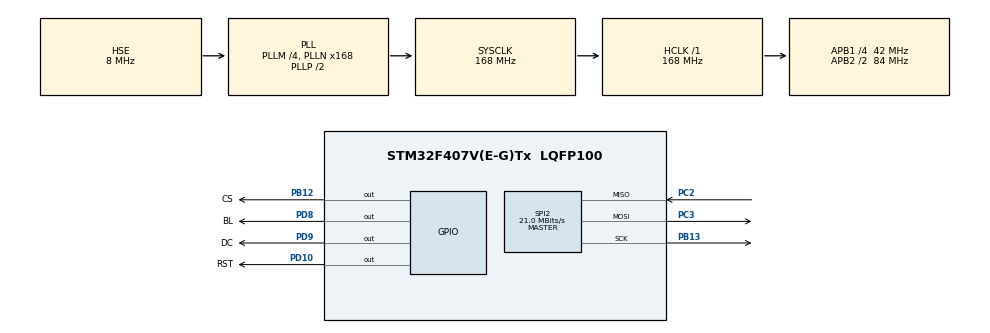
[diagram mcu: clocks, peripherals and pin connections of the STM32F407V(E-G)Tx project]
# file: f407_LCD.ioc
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Mcu.Family=STM32F4
Mcu.Name=STM32F407V(E-G)Tx
Mcu.Package=LQFP100
NVIC.PriorityGroup=NVIC_PRIORITYGROUP_4
NVIC.TIM6_DAC_IRQn=true\:2\:0\:true\:false\:true\:true\:true\:true
PA13.Mode=Serial_Wire
PA13.Signal=SYS_JTMS-SWDIO
PA14.Mode=Serial_Wire
PA14.Signal=SYS_JTCK-SWCLK
PB12.GPIO_Label=CS
PB12.PinState=GPIO_PIN_SET
PB12.Signal=GPIO_Output
PB13.Mode=Full_Duplex_Master
PB13.Signal=SPI2_SCK
PC2.Mode=Full_Duplex_Master
PC2.Signal=SPI2_MISO
PC3.Mode=Full_Duplex_Master
PC3.Signal=SPI2_MOSI
PD10.GPIO_Label=RST
PD10.PinState=GPIO_PIN_SET
PD10.Signal=GPIO_Output
PD8.GPIO_Label=BL
PD8.PinState=GPIO_PIN_RESET
PD8.Signal=GPIO_Output
PD9.GPIO_Label=DC
PD9.Signal=GPIO_Output
PH0-OSC_IN.Mode=HSE-External-Oscillator
PH0-OSC_IN.Signal=RCC_OSC_IN
PH1-OSC_OUT.Mode=HSE-External-Oscillator
PH1-OSC_OUT.Signal=RCC_OSC_OUT
ProjectManager.HeapSize=0x200
ProjectManager.StackSize=0x400
ProjectManager.TargetToolchain=CMake
RCC.48MHZClocksFreq_Value=84000000
RCC.AHBFreq_Value=168000000
RCC.APB1CLKDivider=RCC_HCLK_DIV4
RCC.APB1Freq_Value=42000000
RCC.APB1TimFreq_Value=84000000
RCC.APB2CLKDivider=RCC_HCLK_DIV2
RCC.APB2Freq_Value=84000000
RCC.APB2TimFreq_Value=168000000
RCC.CortexFreq_Value=168000000
RCC.HCLKFreq_Value=168000000
RCC.HSE_VALUE=8000000
RCC.HSI_VALUE=16000000
RCC.LSE_VALUE=32768
RCC.PLLM=4
RCC.PLLN=168
RCC.PLLSourceVirtual=RCC_PLLSOURCE_HSE
RCC.SYSCLKFreq_VALUE=168000000
RCC.SYSCLKSource=RCC_SYSCLKSOURCE_PLLCLK
RCC.VCOOutputFreq_Value=336000000
SPI2.CalculateBaudRate=21.0 MBits/s
SPI2.Direction=SPI_DIRECTION_2LINES
SPI2.Mode=SPI_MODE_MASTER
SPI2.VirtualType=VM_MASTER
TIM6.AutoReloadPreload=TIM_AUTORELOAD_PRELOAD_ENABLE
TIM6.Period=999
TIM6.Prescaler=83
TIM6.TIM_MasterOutputTrigger=TIM_TRGO_UPDATE
VP_TIM6_VS_ClockSourceINT.Mode=Enable_Timer
board=custom

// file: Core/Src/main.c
/* USER CODE BEGIN Header */
/**
  ******************************************************************************
  * @file           : main.c
  * @brief          : Main program body
  ******************************************************************************
  * @attention
  *
  * Copyright (c) 2025 STMicroelectronics.
  * All rights reserved.
  *
  * This software is licensed under terms that can be found in the LICENSE file
  * in the root directory of this software component.
  * If no LICENSE file comes with this software, it is provided AS-IS.
  *
  ******************************************************************************
  */
/* USER CODE END Header */
#include "main.h"
#include "spi.h"
#include "tim.h"
#include "gpio.h"

/* USER CODE BEGIN Includes */
#include "lcd.h"
#include "pic.h"
#include "lvgl.h"
#include "lv_port_disp.h"
/* USER CODE END Includes */

/* USER CODE BEGIN PD */
uint16_t color_palette[] = {
  0xFFFF, // WHITE
  0x0000, // BLACK
  0x001F, // BLUE
  0xF81F, // BRED
  0xFFE0, // GRED
  0x07FF, // GBLUE
  0xF800, // RED
  0xF81F, // MAGENTA
  0x07E0, // GREEN
  0x7FFF, // CYAN
  0xFFE0, // YELLOW
  0xBC40, // BROWN
  0xFC07, // BRRED
  0x8430, // GRAY
  0x01CF, // DARKBLUE
  0x7D7C, // LIGHTBLUE
  0x5458, // GRAYBLUE
  0x841F, // LIGHTGREEN
  0xC618, // LGRAY
  0xA651, // LGRAYBLUE
  0x2B12  // LBBLUE
};

/* USER CODE END PD */

void SystemClock_Config(void);

/* USER CODE BEGIN 0 */

// 按钮事件处理函数
static void btn_event_cb(lv_event_t * e)
{
    lv_event_code_t code = lv_event_get_code(e);
    lv_obj_t * btn = lv_event_get_target(e);
    if(code == LV_EVENT_CLICKED) {
        static uint8_t cnt = 0;
        cnt++;

        /*获取按钮上的标签*/
        lv_obj_t * label = lv_obj_get_child(btn, 0);
        lv_label_set_text_fmt(label, "Button: %d", cnt);
    }
}

/* USER CODE END 0 */

int main(void)
{

  /* MCU Configuration--------------------------------------------------------*/

  /* Reset of all peripherals, Initializes the Flash interface and the Systick. */
  HAL_Init();

  /* Configure the system clock */
  SystemClock_Config();

  /* Initialize all configured peripherals */
  MX_GPIO_Init();
  MX_SPI2_Init();
  MX_TIM6_Init();
  /* USER CODE BEGIN 2 */

  // 初始化LCD
  LCD_Init_HAL();
  HAL_TIM_Base_Start_IT(&htim6); // 启动定时器6，用于LCD延时
  lv_init();
  lv_port_disp_init();
  LCD_Fill(0, 0, 128, 160, WHITE);

  // 创建屏幕和基本控件
  lv_obj_t * scr = lv_scr_act();
  lv_obj_set_style_bg_color(scr, lv_palette_main(LV_PALETTE_YELLOW), 0);

  // 创建标签
  lv_obj_t * label = lv_label_create(scr);
  lv_label_set_text(label, "Hello LVGL!");
  lv_obj_align(label, LV_ALIGN_TOP_MID, 0, 5);

  // 创建按钮
  lv_obj_t * btn = lv_btn_create(scr);
  lv_obj_set_size(btn, 80, 30);
  lv_obj_align(btn, LV_ALIGN_TOP_MID, 0, 25);
  lv_obj_add_event_cb(btn, btn_event_cb, LV_EVENT_ALL, NULL);

  // 为按钮添加标签
  lv_obj_t * btn_label = lv_label_create(btn);
  lv_label_set_text(btn_label, "Button");
  lv_obj_center(btn_label);

  // 创建进度条
  lv_obj_t * bar1 = lv_bar_create(scr);
  lv_obj_set_size(bar1, 100, 10);
  lv_obj_align(bar1, LV_ALIGN_TOP_MID, 0, 65);
  lv_bar_set_value(bar1, 70, LV_ANIM_OFF);

  // 创建滑块
  lv_obj_t * slider = lv_slider_create(scr);
  lv_obj_set_width(slider, 100);
  lv_obj_align(slider, LV_ALIGN_TOP_MID, 0, 85);
  lv_slider_set_value(slider, 50, LV_ANIM_OFF);

  // 创建另一个标签显示数值
  lv_obj_t * value_label = lv_label_create(scr);
  lv_label_set_text(value_label, "Value: 50");
  lv_obj_align(value_label, LV_ALIGN_TOP_MID, 0, 105);

  // 创建复选框
  lv_obj_t * cb = lv_checkbox_create(scr);
  lv_checkbox_set_text(cb, "Checkbox");
  lv_obj_align(cb, LV_ALIGN_TOP_MID, 0, 125);

  /* USER CODE END 2 */

  /* Infinite loop */
  /* USER CODE BEGIN WHILE */
  uint32_t last_update = 0;
  int16_t progress = 0;
  int8_t progress_direction = 1;

  while (1)
  {
    // 更新进度条动画
    uint32_t current_time = HAL_GetTick();
    if(current_time - last_update > 50) { // 每50ms更新一次
        last_update = current_time;

        // 更新进度条
        progress += progress_direction * 2;
        if(progress >= 100) {
            progress = 100;
            progress_direction = -1;
        } else if(progress <= 0) {
            progress = 0;
            progress_direction = 1;
        }
        lv_bar_set_value(bar1, progress, LV_ANIM_OFF);

        // 更新数值标签
        lv_label_set_text_fmt(value_label, "Value: %d", lv_slider_get_value(slider));
    }

    lv_task_handler();
    HAL_Delay(5);

    /* USER CODE END WHILE */

  }
  /* USER CODE END 3 */
}

void SystemClock_Config(void)
{
  RCC_OscInitTypeDef RCC_OscInitStruct = {0};
  RCC_ClkInitTypeDef RCC_ClkInitStruct = {0};

  /** Configure the main internal regulator output voltage
  */
  __HAL_RCC_PWR_CLK_ENABLE();
  __HAL_PWR_VOLTAGESCALING_CONFIG(PWR_REGULATOR_VOLTAGE_SCALE1);

  /** Initializes the RCC Oscillators according to the specified parameters
  * in the RCC_OscInitTypeDef structure.
  */
  RCC_OscInitStruct.OscillatorType = RCC_OSCILLATORTYPE_HSE;
  RCC_OscInitStruct.HSEState = RCC_HSE_ON;
  RCC_OscInitStruct.PLL.PLLState = RCC_PLL_ON;
  RCC_OscInitStruct.PLL.PLLSource = RCC_PLLSOURCE_HSE;
  RCC_OscInitStruct.PLL.PLLM = 4;
  RCC_OscInitStruct.PLL.PLLN = 168;
  RCC_OscInitStruct.PLL.PLLP = RCC_PLLP_DIV2;
  RCC_OscInitStruct.PLL.PLLQ = 4;
  if (HAL_RCC_OscConfig(&RCC_OscInitStruct) != HAL_OK)
  {
    Error_Handler();
  }

  /** Initializes the CPU, AHB and APB buses clocks
  */
  RCC_ClkInitStruct.ClockType = RCC_CLOCKTYPE_HCLK|RCC_CLOCKTYPE_SYSCLK
                              |RCC_CLOCKTYPE_PCLK1|RCC_CLOCKTYPE_PCLK2;
  RCC_ClkInitStruct.SYSCLKSource = RCC_SYSCLKSOURCE_PLLCLK;
  RCC_ClkInitStruct.AHBCLKDivider = RCC_SYSCLK_DIV1;
  RCC_ClkInitStruct.APB1CLKDivider = RCC_HCLK_DIV4;
  RCC_ClkInitStruct.APB2CLKDivider = RCC_HCLK_DIV2;

  if (HAL_RCC_ClockConfig(&RCC_ClkInitStruct, FLASH_LATENCY_5) != HAL_OK)
  {
    Error_Handler();
  }
}

/* USER CODE BEGIN 4 */
void HAL_TIM_PeriodElapsedCallback(TIM_HandleTypeDef *htim)
{
  if (htim->Instance == TIM6) {
    lv_tick_inc(1);  // 每毫秒加 1
  }
}

/* USER CODE END 4 */

void Error_Handler(void)
{
  __disable_irq();
  while (1)
  {
  }
}
